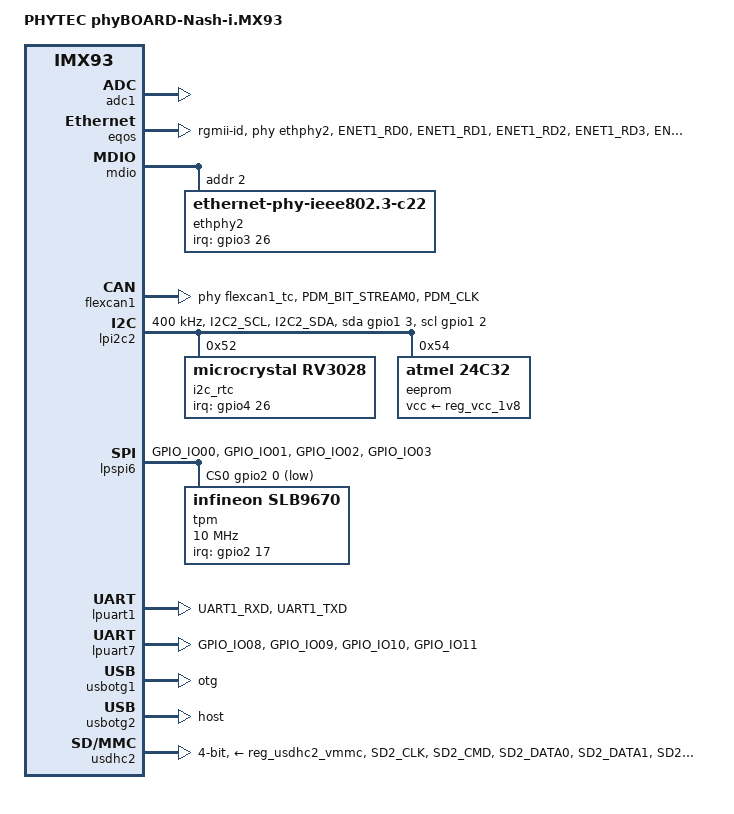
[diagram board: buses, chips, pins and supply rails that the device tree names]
// SPDX-License-Identifier: (GPL-2.0+ OR MIT)
/*
 * Copyright (C) 2025 PHYTEC Messtechnik GmbH
 * Author: Primoz Fiser <primoz.fiser@norik.com>
 *
 * Product homepage:
 * https://www.phytec.eu/en/produkte/development-kits/phyboard-nash/
 */

/dts-v1/;

#include <dt-bindings/net/ti-dp83867.h>
#include "imx93-phycore-som.dtsi"

/ {
    model = "PHYTEC phyBOARD-Nash-i.MX93";
    compatible = "phytec,imx93-phyboard-nash", "phytec,imx93-phycore-som",
                 "fsl,imx93";
    #address-cells = <1>;
    #size-cells = <1>;

    serial-number = "1234";
    chassis-type = "embedded";

    aliases {
        ethernet1 = &eqos;
        gpio0 = &gpio1;
        gpio1 = &gpio2;
        gpio2 = &gpio3;
        gpio3 = &gpio4;
        i2c0 = &lpi2c1;
        i2c1 = &lpi2c2;
        mmc0 = &usdhc1;
        mmc1 = &usdhc2;
        rtc0 = &i2c_rtc;
        rtc1 = &bbnsm_rtc;
        serial0 = &lpuart1;
        serial1 = &lpuart2;
        serial2 = &lpuart3;
        serial3 = &lpuart4;
        serial4 = &lpuart5;
        serial5 = &lpuart6;
        serial6 = &lpuart7;
        spi0 = &lpspi1;
        spi1 = &lpspi2;
        spi2 = &lpspi3;
        spi3 = &lpspi4;
        spi4 = &lpspi5;
        spi5 = &lpspi6;
    };

    chosen {
        stdout-path = &lpuart1;
    };

    curr_sens: current-sense {
        compatible = "current-sense-amplifier";
        #io-channel-cells = <0>;
        io-channels = <&adc1 1>;
        sense-gain-div = <2>;
        sense-gain-mult = <50>;
        sense-resistor-micro-ohms = <35000>;
    };

    flexcan1_tc: can-phy0 {
        compatible = "ti,tcan1042";
        #phy-cells = <0>;
        max-bitrate = <8000000>;
        pinctrl-names = "default";
        pinctrl-0 = <&pinctrl_flexcan1_tc>;
        standby-gpios = <&gpio4 16 GPIO_ACTIVE_HIGH>;
    };

    iio-hwmon {
        compatible = "iio-hwmon";
        io-channels = <&curr_sens 0>;
    };

    reg_usb1_vbus: regulator-usb1-vbus {
        compatible = "regulator-fixed";
        regulator-name = "USB1_VBUS";
        regulator-min-microvolt = <5000000>;
        regulator-max-microvolt = <5000000>;
        regulator-always-on;
    };

    reg_usb2_vbus: regulator-usb2-vbus {
        compatible = "regulator-fixed";
        regulator-name = "USB2_VBUS";
        regulator-min-microvolt = <5000000>;
        regulator-max-microvolt = <5000000>;
        regulator-always-on;
    };

    reg_usdhc2_vmmc: regulator-usdhc2 {
        compatible = "regulator-fixed";
        gpio = <&gpio3 7 GPIO_ACTIVE_HIGH>;
        enable-active-high;
        pinctrl-names = "default";
        pinctrl-0 = <&pinctrl_reg_usdhc2_vmmc>;
        regulator-name = "VCC_SD";
        regulator-max-microvolt = <3300000>;
        regulator-min-microvolt = <3300000>;
    };

    reg_vcc_1v8: regulator-vcc-1v8 {
        compatible = "regulator-fixed";
        regulator-name = "VCC1V8";
        regulator-max-microvolt = <1800000>;
        regulator-min-microvolt = <1800000>;
    };

    child {
        aliases {
            dummy = "value";
        };
    };

    memory {
        device_type = "memory";
        reg = <0x40000000 0x40000000>;
        hotpluggable;
        initial-mapped-area = <0x40000000 0x40000000>;
    };

    memory@0 {
        device_type = "memory";
        reg = <0x000000000 0x00000000 0x00000000 0x80000000
               0x000000001 0x00000000 0x00000001 0x00000000>;
    };

    reserved-memory {
        #address-cells = <1>;
        #size-cells = <1>;
        ranges;

        /* global autoconfigured region for contiguous allocations */
        linux,cma {
            compatible = "shared-dma-pool";
            reusable;
            size = <0x4000000>;
            alignment = <0x2000>;
            linux,cma-default;
            no-map;
            alloc-ranges = <0x12 0x34>;
        };

        display_reserved: framebuffer@78000000 {
            reusable;
            reg = <0x78000000 0x800000>;
            linux,cma-default;
        };

        multimedia_reserved: multimedia@77000000 {
            compatible = "acme,multimedia-memory";
            reg = <0x77000000 0x4000000>;
            linux,dma-default;
        };
    };

    /* ... */

    fb0: video@12300000 {
        memory-region = <&display_reserved>;
        /* ... */
    };

    chosen {
        bootargs = "root=/dev/nfs rw nfsroot=192.168.1.1 console=ttyS0,115200";
    };

    cpus {
        #address-cells = <1>;
        #size-cells = <0>;
        cpu@0 {
            device_type = "cpu";
            reg = <0>;
            cache-unified;
            cache-size = <0x8000>; // L1, 32 KB
            cache-block-size = <32>;
            timebase-frequency = <82500000>; // 82.5 MHz
            next-level-cache = <&L2_0>; // phandle to L2

            L2_0:l2-cache {
                compatible = "cache";
                cache-unified;
                cache-size = <0x40000>; // 256 KB

                cache-sets = <1024>;
                cache-block-size = <32>;
                cache-level = <2>;
                next-level-cache = <&L3>; // phandle to L3

                L3:l3-cache {
                    compatible = "cache";
                    cache-unified;
                    cache-size = <0x40000>; // 256 KB
                    cache-sets = <0x400>; // 1024
                    cache-block-size = <32>;
                    cache-level = <3>;
                };
            };
        };

        cpu@1 {
            device_type = "cpu";
            reg = <1>;
            cache-unified;
            cache-block-size = <32>;
            cache-size = <0x8000>; // L1, 32 KB
            timebase-frequency = <82500000>; // 82.5 MHz
            clock-frequency = <825000000>; // 825 MHz
            next-level-cache = <&L2_1>; // phandle to L2
            L2_1:l2-cache {
                compatible = "cache";
                cache-unified;
                cache-level = <2>;
                cache-size = <0x40000>; // 256 KB
                cache-sets = <0x400>; // 1024
                cache-line-size = <32>; // 32 bytes
                next-level-cache = <&L3>; // phandle to L3
            };
        };
    };

    pic@10000000 {
        phandle = <1>;
        interrupt-controller;
        reg = <0x10000000 0x100>;
    };

    soc {
        soc_gpio1: gpio-controller1 {
            #gpio-cells = <2>;
        };

        soc_gpio2: gpio-controller2 {
            #gpio-cells = <2>;
        };
    };

    connector: connector {
        #gpio-cells = <2>;
        gpio-map = <0 0 &soc_gpio1 1 0>,
                   <1 0 &soc_gpio2 4 0>,
                   <2 0 &soc_gpio1 3 0>,
                   <3 0 &soc_gpio2 2 0>;
        gpio-map-mask = <0xf 0x0>;
        gpio-map-pass-thru = <0x0 0x1>;
    };

    expansion_device {
        reset-gpios = <&connector 2 GPIO_ACTIVE_LOW>;
    };

    phandle = <1>;
    status = "disabled";
    reg = <0x3000 0x20 0xFE00 0x100>;
    virtual-reg;
    ranges = <0x0 0xe0000000 0x00100000>;
    dma-ranges;
    dma-coherent;
    dma-noncoherent;
    name = "cpu";
    device_type = "cpu";
    linux,phandle = <1>;
    serial-number = "123456";
    chassis-type = "embedded";
    memory-region = <&display_reserved>; // should not return hover since it is only valid on device nodes
    memory-region-names = "invalid-root"; // should not return hover since it is only valid on device nodes

    memory {
        initial-mapped-area = <0 0 0>;
        hotpluggable;
    };

    reserved-memory {
        #address-cells = <1>;
        #size-cells = <1>;
        ranges;

        framebuffer@78000000 {
            reg = <0x78000000 0x800000>;
            compatible = "shared-dma-pool";
            size = <0x800000>;
            alignment = <0x1000>;
            alloc-ranges = <0x78000000 0x800000>;
            no-map;
            reusable;
            memory-region = <&display_reserved>; // should not return hover since it is only valid outside reserved-memory nodes
            memory-region-names = "invalid-reserved-memory"; // should not return hover since it is only valid outside reserved-memory nodes
        };
    };

    chosen {
        bootargs = "root=/dev/nfs";
        bootsource = "/soc/flash@0";
        stdout-path = "/soc/serial@0";
        stdin-path = "/soc/serial@0";
    };

    cpus {
        #address-cells = <1>;
        #size-cells = <0>;

        cpu@0 {
            device_type = "cpu";
            reg = <0>;
            clock-frequency = <825000000>;
            timebase-frequency = <82500000>;
            status = "disabled";
            enable-method = "spin-table";
            cpu-release-addr = <0 0>;
            power-isa-version = "2.06";
            power-isa-e-hv;
            cache-op-block-size = <32>;
            reservation-granule-size = <32>;
            mmu-type = "powerpc-classic";
            tlb-split;
            tlb-size = <64>;
            tlb-sets = <4>;
            d-tlb-size = <64>;
            d-tlb-sets = <4>;
            i-tlb-size = <64>;
            i-tlb-sets = <4>;
            cache-unified;
            cache-size = <0x8000>;
            cache-sets = <256>;
            cache-block-size = <32>;
            cache-line-size = <32>;
            i-cache-size = <0x8000>;
            i-cache-sets = <256>;
            i-cache-block-size = <32>;
            i-cache-line-size = <32>;
            d-cache-size = <0x8000>;
            d-cache-sets = <256>;
            d-cache-block-size = <32>;
            d-cache-line-size = <32>;
            next-level-cache = <&L2_0>;

            L2_0: cache-controller {
                compatible = "cache";
                cache-level = <2>;
            };
        };
    };

    child {
        serial-number = "wrong-node"; // should not return hover since it is only a root property
        chassis-type = "wrong-node"; // should not return hover since it is only a root property

        memory-region = <&display_reserved>;
        memory-region-names = "display";
        status = "okay";
        status = "disabled";
        status = "reserved";
        status = "fail";
        status = "fail-sss";
        interrupts = <0xA 8>;
        interrupt-parent = <&pic>;
        interrupts-extended = <&pic 0xA 8>, <&gic 0xda>;
        interrupt-controller;
        #interrupt-cells = <2>;

        aliases { // should not return hover since it is only a root node
            dummy;
        };

        memory { // should not return hover since it is only a root node
            dummy;
        };

        chosen { // should not return hover since it is only a root node
            dummy;
        };
    };

    ordinary-device {
        interrupt-map = <0 0 1 &pic 1 1>; // should not return hover since it is only valid on nexus nodes
        interrupt-map-mask = <0xf800 0 0 7>; // should not return hover since it is only valid on nexus nodes
        gpio-map = <0 0 &gpio 0 0>; // should not return hover since it is only valid on nexus nodes
        gpio-map-mask = <0xf 0x0>; // should not return hover since it is only valid on nexus nodes
        gpio-map-pass-thru = <0x0 0x1>; // should not return hover since it is only valid on nexus nodes
    };

    pci {
        #interrupt-cells = <1>;
        interrupt-map = <0 0 1 &pic 1 1>;
        interrupt-map-mask = <0xf800 0 0 7>;
    };

    connector {
        #gpio-cells = <2>;
        gpio-map = <0 0 &gpio 0 0>;
        gpio-map-mask = <0xf 0x0>;
        gpio-map-pass-thru = <0x0 0x1>;
    };

    nexus {
        interrupt-map = <0 0 1 &pic 1 1>; // should not return hover since the node name alone does not make this a nexus
        interrupt-map-mask = <0xf800 0 0 7>; // should not return hover since the node name alone does not make this a nexus
        gpio-map = <0 0 &gpio 0 0>; // should not return hover since the node name alone does not make this a nexus
        gpio-map-mask = <0xf 0x0>; // should not return hover since the node name alone does not make this a nexus
        gpio-map-pass-thru = <0x0 0x1>; // should not return hover since the node name alone does not make this a nexus
    };

    miscellaneous-device {
        compatible = "example,miscellaneous-device";
        model = "example,miscellaneous-device";
        #address-cells = <1>;
        #size-cells = <1>;
        clock-frequency = <1000000>;
        reg-shift = <2>;
        label = "misc-device";
    };

    serial-device {
        clock-frequency = <1000000>;
    };

    serial@4500 {
        clock-frequency = <100000000>;
        current-speed = <115200>;
    };

    uart@4600 {
        compatible = "ns16550";
        reg = <0x4600 0x100>;
        interrupts = <0xA 8>;
        clock-frequency = <100000000>;
        current-speed = <115200>;
        reg-shift = <2>;
        virtual-reg;
    };

    ethernet@0 {
        address-bits = <48>;
        local-mac-address = [ 00 00 12 34 56 78 ];
        mac-address = [ 02 03 04 05 06 07 ];
        max-frame-size = <1518>;
    };

    ethernet@1 {
        max-speed = <1000>;
        phy-connection-type = "rgmii";
        phy-handle = <&PHY0>;
    };

    interrupt-controller@10000000 {
        compatible = "open-pic";
        reg = <0x10000000 0x100>;
        interrupt-controller;
        #interrupt-cells = <2>;
        #address-cells = <0>;
    };

    soc {
        compatible = "simple-bus";
        ranges;
        nonposted-mmio;
    };
};

/* ADC */
&adc1 {
    status = "okay";
};

/* Ethernet */
&eqos {
    pinctrl-names = "default";
    pinctrl-0 = <&pinctrl_eqos>;
    phy-mode = "rgmii-id";
    phy-handle = <&ethphy2>;
    status = "okay";
};

&mdio {
    ethphy2: ethernet-phy@2 {
        compatible = "ethernet-phy-ieee802.3-c22";
        reg = <2>;
        interrupt-parent = <&gpio3>;
        interrupts = <26 IRQ_TYPE_LEVEL_LOW>;
        ti,clk-output-sel = <DP83867_CLK_O_SEL_OFF>;
        ti,fifo-depth = <DP83867_PHYCR_FIFO_DEPTH_4_B_NIB>;
        ti,rx-internal-delay = <DP83867_RGMIIDCTL_1_75_NS>;
        ti,tx-internal-delay = <DP83867_RGMIIDCTL_2_00_NS>;
    };
};

/* CAN */
&flexcan1 {
    pinctrl-names = "default";
    pinctrl-0 = <&pinctrl_flexcan1>;
    phys = <&flexcan1_tc>;
    status = "okay";
};

/* I2C2 */
&lpi2c2 {
    clock-frequency = <400000>;
    pinctrl-names = "default", "gpio";
    pinctrl-0 = <&pinctrl_lpi2c2>;
    pinctrl-1 = <&pinctrl_lpi2c2_gpio>;
    scl-gpios = <&gpio1 2 (GPIO_ACTIVE_HIGH | GPIO_OPEN_DRAIN)>;
    sda-gpios = <&gpio1 3 (GPIO_ACTIVE_HIGH | GPIO_OPEN_DRAIN)>;
    status = "okay";

    /* RTC */
    i2c_rtc: rtc@52 {
        compatible = "microcrystal,rv3028";
        reg = <0x52>;
        interrupt-parent = <&gpio4>;
        interrupts = <26 IRQ_TYPE_LEVEL_LOW>;
        pinctrl-names = "default";
        pinctrl-0 = <&pinctrl_rtc>;
        trickle-resistor-ohms = <3000>;
        wakeup-source;
    };

    /* EEPROM */
    eeprom@54 {
        compatible = "atmel,24c32";
        reg = <0x54>;
        pagesize = <32>;
        vcc-supply = <&reg_vcc_1v8>;
    };
};

/* SPI6 */
&lpspi6 {
    pinctrl-names = "default";
    pinctrl-0 = <&pinctrl_lpspi6>;
    cs-gpios = <&gpio2 0 GPIO_ACTIVE_LOW>;
    status = "okay";

    /* TPM */
    tpm@0 {
        compatible = "infineon,slb9670", "tcg,tpm_tis-spi";
        reg = <0>;
        interrupt-parent = <&gpio2>;
        interrupts = <17 IRQ_TYPE_LEVEL_LOW>;
        pinctrl-names = "default";
        pinctrl-0 = <&pinctrl_tpm>;
        spi-max-frequency = <10000000>;
    };
};

/* Console */
&lpuart1 {
    pinctrl-names = "default";
    pinctrl-0 = <&pinctrl_uart1>;
    status = "okay";
};

/* RS-232/RS-485 */
&lpuart7 {
    pinctrl-names = "default";
    pinctrl-0 = <&pinctrl_uart7>;
    status = "okay";
};

/* USB */
&usbphynop1 {
    vbus-supply = <&reg_usb1_vbus>;
};

&usbphynop2 {
    vbus-supply = <&reg_usb2_vbus>;
};

&usbotg1 {
    disable-over-current;
    dr_mode = "otg";
    status = "okay";
};

&usbotg2 {
    disable-over-current;
    dr_mode = "host";
    status = "okay";
};

/* SD-Card */
&usdhc2 {
    pinctrl-names = "default", "state_100mhz", "state_200mhz";
    pinctrl-0 = <&pinctrl_usdhc2_default>, <&pinctrl_usdhc2_cd>;
    pinctrl-1 = <&pinctrl_usdhc2_100mhz>, <&pinctrl_usdhc2_cd>;
    pinctrl-2 = <&pinctrl_usdhc2_200mhz>, <&pinctrl_usdhc2_cd>;
    cd-gpios = <&gpio3 0 GPIO_ACTIVE_LOW>;
    vmmc-supply = <&reg_usdhc2_vmmc>;
    bus-width = <4>;
    disable-wp;
    no-mmc;
    no-sdio;
    status = "okay";
};

&iomuxc {
    pinctrl_eqos: eqosgrp {
        fsl,pins = <
            MX93_PAD_ENET1_RD0__ENET_QOS_RGMII_RD0  0x57e
            MX93_PAD_ENET1_RD1__ENET_QOS_RGMII_RD1  0x57e
            MX93_PAD_ENET1_RD2__ENET_QOS_RGMII_RD2  0x57e
            MX93_PAD_ENET1_RD3__ENET_QOS_RGMII_RD3  0x57e
            MX93_PAD_ENET1_RXC__CCM_ENET_QOS_CLOCK_GENERATE_RX_CLK  0x5fe
            MX93_PAD_ENET1_RX_CTL__ENET_QOS_RGMII_RX_CTL    0x57e
            MX93_PAD_ENET1_TD0__ENET_QOS_RGMII_TD0  0x51e
            MX93_PAD_ENET1_TD1__ENET_QOS_RGMII_TD1  0x51e
            MX93_PAD_ENET1_TD2__ENET_QOS_RGMII_TD2  0x50e
            MX93_PAD_ENET1_TD3__ENET_QOS_RGMII_TD3  0x50e
            MX93_PAD_ENET1_TXC__CCM_ENET_QOS_CLOCK_GENERATE_TX_CLK  0x58e
            MX93_PAD_ENET1_TX_CTL__ENET_QOS_RGMII_TX_CTL    0x50e
            MX93_PAD_CCM_CLKO1__GPIO3_IO26      0x1002
        >;
    };

    pinctrl_flexcan1: flexcan1grp {
        fsl,pins = <
            MX93_PAD_PDM_BIT_STREAM0__CAN1_RX   0x139e
            MX93_PAD_PDM_CLK__CAN1_TX       0x1382
        >;
    };

    pinctrl_flexcan1_tc: flexcan1tcgrp {
        fsl,pins = <
            MX93_PAD_ENET2_TD3__GPIO4_IO16      0x31e
        >;
    };

    pinctrl_lpi2c2: lpi2c2grp {
        fsl,pins = <
            MX93_PAD_I2C2_SCL__LPI2C2_SCL       0x40000b9e
            MX93_PAD_I2C2_SDA__LPI2C2_SDA       0x40000b9e
        >;
    };

    pinctrl_lpi2c2_gpio: lpi2c2gpiogrp {
        fsl,pins = <
            MX93_PAD_I2C2_SCL__GPIO1_IO02       0x31e
            MX93_PAD_I2C2_SDA__GPIO1_IO03       0x31e
        >;
    };

    pinctrl_lpspi6: lpspi6grp {
        fsl,pins = <
            MX93_PAD_GPIO_IO00__GPIO2_IO00      0x386
            MX93_PAD_GPIO_IO01__LPSPI6_SIN      0x3fe
            MX93_PAD_GPIO_IO02__LPSPI6_SOUT     0x386
            MX93_PAD_GPIO_IO03__LPSPI6_SCK      0x386
        >;
    };

    pinctrl_reg_usdhc2_vmmc: regusdhc2vmmcgrp {
        fsl,pins = <
            MX93_PAD_SD2_RESET_B__GPIO3_IO07    0x31e
        >;
    };

    pinctrl_rtc: rtcgrp {
        fsl,pins = <
            MX93_PAD_ENET2_RD2__GPIO4_IO26      0x31e
        >;
    };

    pinctrl_tpm: tpmgrp {
        fsl,pins = <
            MX93_PAD_GPIO_IO17__GPIO2_IO17      0x31e
        >;
    };

    pinctrl_uart1: uart1grp {
        fsl,pins = <
            MX93_PAD_UART1_RXD__LPUART1_RX      0x31e
            MX93_PAD_UART1_TXD__LPUART1_TX      0x30e
        >;
    };

    pinctrl_uart7: uart7grp {
        fsl,pins = <
            MX93_PAD_GPIO_IO08__LPUART7_TX      0x30e
            MX93_PAD_GPIO_IO09__LPUART7_RX      0x31e
            MX93_PAD_GPIO_IO10__LPUART7_CTS_B   0x31e
            MX93_PAD_GPIO_IO11__LPUART7_RTS_B   0x31e
        >;
    };

    pinctrl_usdhc2_cd: usdhc2cdgrp {
        fsl,pins = <
            MX93_PAD_SD2_CD_B__GPIO3_IO00       0x31e
        >;
    };

    /* need to config the SION for data and cmd pad, refer to ERR052021 */
    pinctrl_usdhc2_default: usdhc2grp {
        fsl,pins = <
            MX93_PAD_SD2_CLK__USDHC2_CLK        0x159e
            MX93_PAD_SD2_CMD__USDHC2_CMD        0x4000178e
            MX93_PAD_SD2_DATA0__USDHC2_DATA0    0x40001386
            MX93_PAD_SD2_DATA1__USDHC2_DATA1    0x40001386
            MX93_PAD_SD2_DATA2__USDHC2_DATA2    0x40001386
            MX93_PAD_SD2_DATA3__USDHC2_DATA3    0x4000138e
            MX93_PAD_SD2_VSELECT__USDHC2_VSELECT    0x51e
        >;
    };

    /* need to config the SION for data and cmd pad, refer to ERR052021 */
    pinctrl_usdhc2_100mhz: usdhc2-100mhzgrp {
        fsl,pins = <
            MX93_PAD_SD2_CLK__USDHC2_CLK        0x159e
            MX93_PAD_SD2_CMD__USDHC2_CMD        0x4000139e
            MX93_PAD_SD2_DATA0__USDHC2_DATA0    0x4000139e
            MX93_PAD_SD2_DATA1__USDHC2_DATA1    0x4000139e
            MX93_PAD_SD2_DATA2__USDHC2_DATA2    0x4000139e
            MX93_PAD_SD2_DATA3__USDHC2_DATA3    0x400013be
            MX93_PAD_SD2_VSELECT__USDHC2_VSELECT    0x51e
        >;
    };

    /* need to config the SION for data and cmd pad, refer to ERR052021 */
    pinctrl_usdhc2_200mhz: usdhc2-200mhzgrp {
        fsl,pins = <
            MX93_PAD_SD2_CLK__USDHC2_CLK        0x159e
            MX93_PAD_SD2_CMD__USDHC2_CMD        0x4000139e
            MX93_PAD_SD2_DATA0__USDHC2_DATA0    0x4000139e
            MX93_PAD_SD2_DATA1__USDHC2_DATA1    0x4000139e
            MX93_PAD_SD2_DATA2__USDHC2_DATA2    0x4000139e
            MX93_PAD_SD2_DATA3__USDHC2_DATA3    0x4000139e
            MX93_PAD_SD2_VSELECT__USDHC2_VSELECT    0x51e
        >;
    };

};
